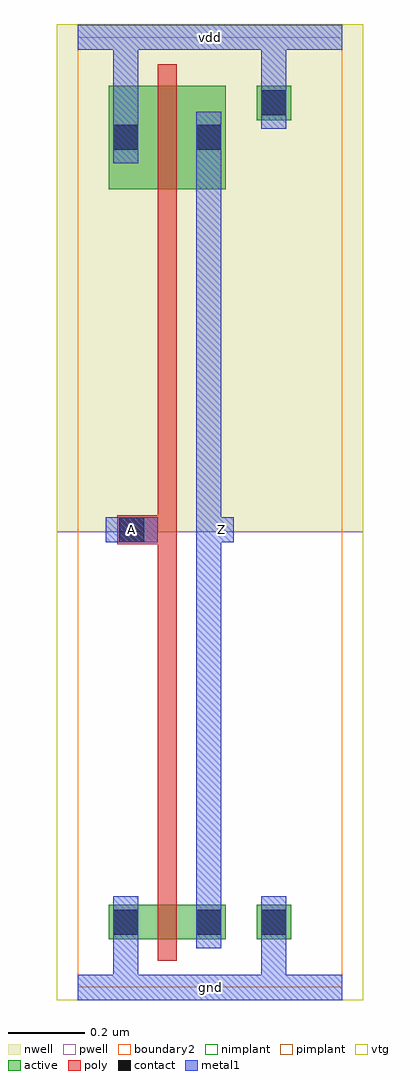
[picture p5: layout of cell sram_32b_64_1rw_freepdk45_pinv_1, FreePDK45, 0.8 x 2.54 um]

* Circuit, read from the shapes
.subckt sram_32b_64_1rw_freepdk45_pinv_1 A Z gnd vdd
M1 Z A gnd gnd nfet w=0.09u l=0.05u
M2 Z A vdd vdd pfet w=0.27u l=0.05u
.ends

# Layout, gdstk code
import gdstk
lib = gdstk.Library(unit=1e-6, precision=5e-10)
def R(c, l, rs):  # rectangles x0, y0, x1, y1
    for r in rs: c.add(gdstk.rectangle(r[:2], r[2:], *l))
active = (1, 0)
pwell = (2, 0)
nwell = (3, 0)
nimplant = (4, 0)
pimplant = (5, 0)
vtg = (6, 0)
poly = (9, 0)
contact = (10, 0)
metal1 = (11, 0)
boundary2 = (239, 0)

sram_32b_64_1rw_freepdk4 = lib.new_cell('sram_32b_64_1rw_freepdk45_contact_11')
R(sram_32b_64_1rw_freepdk4, active, [(0,0.0225,0.09,0.1125)])
R(sram_32b_64_1rw_freepdk4, nwell, [(-0.055,-0.0325,0.145,0.1675)])
R(sram_32b_64_1rw_freepdk4, pimplant, [(0,0.0225,0.09,0.1125)])
R(sram_32b_64_1rw_freepdk4, contact, [(0.0125,0.035,0.0775,0.1)])
R(sram_32b_64_1rw_freepdk4, metal1, [(0.0125,0,0.0775,0.135)])
R(sram_32b_64_1rw_freepdk4, boundary2, [(-0.055,-0.0325,0.145,0.1675)])

c_sram_32b_64_1rw_freepdk4 = lib.new_cell('sram_32b_64_1rw_freepdk45_pmos_m1_w0_270_sm1_dm1_da_p')
R(c_sram_32b_64_1rw_freepdk4, active, [(0,0,0.305,0.27)])
R(c_sram_32b_64_1rw_freepdk4, nwell, [(-0.08,-0.08,0.385,0.35)])
R(c_sram_32b_64_1rw_freepdk4, pimplant, [(0,0,0.305,0.27)])
R(c_sram_32b_64_1rw_freepdk4, vtg, [(-0.08,-0.08,0.385,0.35)])
R(c_sram_32b_64_1rw_freepdk4, poly, [(0.1275,-0.055,0.1775,0.325), (0.1275,-0.055,0.1775,0.325)])
R(c_sram_32b_64_1rw_freepdk4, metal1, [(0.0125,0.0675,0.0775,0.2025), (0.2275,0.0675,0.2925,0.2025)])
R(c_sram_32b_64_1rw_freepdk4, boundary2, [(-0.08,-0.08,0.385,0.35)])
c_sram_32b_64_1rw_freepdk4.add(gdstk.Reference(sram_32b_64_1rw_freepdk4, (0,0.0675)))
c_sram_32b_64_1rw_freepdk4.add(gdstk.Reference(sram_32b_64_1rw_freepdk4, (0.215,0.0675)))
c_sram_32b_64_1rw_freepdk4.add(gdstk.Label('G', (0.1525,0.135), layer=9, texttype=0))
c_sram_32b_64_1rw_freepdk4.add(gdstk.Label('S', (0.045,0.135), layer=11, texttype=0))
c_sram_32b_64_1rw_freepdk4.add(gdstk.Label('D', (0.26,0.135), layer=11, texttype=0))

c_sram_32b_64_1rw_freepdk4_ = lib.new_cell('sram_32b_64_1rw_freepdk45_contact_10')
R(c_sram_32b_64_1rw_freepdk4_, active, [(0,0.0225,0.09,0.1125)])
R(c_sram_32b_64_1rw_freepdk4_, pwell, [(-0.055,-0.0325,0.145,0.1675)])
R(c_sram_32b_64_1rw_freepdk4_, nimplant, [(0,0.0225,0.09,0.1125)])
R(c_sram_32b_64_1rw_freepdk4_, contact, [(0.0125,0.035,0.0775,0.1)])
R(c_sram_32b_64_1rw_freepdk4_, metal1, [(0.0125,0,0.0775,0.135)])
R(c_sram_32b_64_1rw_freepdk4_, boundary2, [(-0.055,-0.0325,0.145,0.1675)])

c_sram_32b_64_1rw_freepdk4__ = lib.new_cell('sram_32b_64_1rw_freepdk45_nmos_m1_w0_090_sm1_dm1_da_p')
R(c_sram_32b_64_1rw_freepdk4__, active, [(0,0,0.305,0.09)])
R(c_sram_32b_64_1rw_freepdk4__, pwell, [(-0.08,-0.08,0.385,0.17)])
R(c_sram_32b_64_1rw_freepdk4__, nimplant, [(0,0,0.305,0.09)])
R(c_sram_32b_64_1rw_freepdk4__, vtg, [(-0.08,-0.08,0.385,0.17)])
R(c_sram_32b_64_1rw_freepdk4__, poly, [(0.1275,-0.055,0.1775,0.145), (0.1275,-0.055,0.1775,0.145)])
R(c_sram_32b_64_1rw_freepdk4__, metal1, [(0.0125,-0.0225,0.0775,0.1125), (0.2275,-0.0225,0.2925,0.1125)])
R(c_sram_32b_64_1rw_freepdk4__, boundary2, [(-0.08,-0.08,0.385,0.17)])
c_sram_32b_64_1rw_freepdk4__.add(gdstk.Reference(c_sram_32b_64_1rw_freepdk4_, (0,-0.0225)))
c_sram_32b_64_1rw_freepdk4__.add(gdstk.Reference(c_sram_32b_64_1rw_freepdk4_, (0.215,-0.0225)))
c_sram_32b_64_1rw_freepdk4__.add(gdstk.Label('G', (0.1525,0.045), layer=9, texttype=0))
c_sram_32b_64_1rw_freepdk4__.add(gdstk.Label('S', (0.045,0.045), layer=11, texttype=0))
c_sram_32b_64_1rw_freepdk4__.add(gdstk.Label('D', (0.26,0.045), layer=11, texttype=0))

c_sram_32b_64_1rw_freepdk4___ = lib.new_cell('sram_32b_64_1rw_freepdk45_contact_12')
R(c_sram_32b_64_1rw_freepdk4___, active, [(0,0.0225,0.09,0.1125)])
R(c_sram_32b_64_1rw_freepdk4___, nwell, [(-0.055,-0.0325,0.145,0.1675)])
R(c_sram_32b_64_1rw_freepdk4___, nimplant, [(0,0.0225,0.09,0.1125)])
R(c_sram_32b_64_1rw_freepdk4___, contact, [(0.0125,0.035,0.0775,0.1)])
R(c_sram_32b_64_1rw_freepdk4___, metal1, [(0.0125,0,0.0775,0.135)])
R(c_sram_32b_64_1rw_freepdk4___, boundary2, [(-0.055,-0.0325,0.145,0.1675)])

c_sram_32b_64_1rw_freepdk4____ = lib.new_cell('sram_32b_64_1rw_freepdk45_contact_13')
R(c_sram_32b_64_1rw_freepdk4____, active, [(0,0.0225,0.09,0.1125)])
R(c_sram_32b_64_1rw_freepdk4____, pwell, [(-0.055,-0.0325,0.145,0.1675)])
R(c_sram_32b_64_1rw_freepdk4____, pimplant, [(0,0.0225,0.09,0.1125)])
R(c_sram_32b_64_1rw_freepdk4____, contact, [(0.0125,0.035,0.0775,0.1)])
R(c_sram_32b_64_1rw_freepdk4____, metal1, [(0.0125,0,0.0775,0.135)])
R(c_sram_32b_64_1rw_freepdk4____, boundary2, [(-0.055,-0.0325,0.145,0.1675)])

c_sram_32b_64_1rw_freepdk4_____ = lib.new_cell('sram_32b_64_1rw_freepdk45_contact_14')
R(c_sram_32b_64_1rw_freepdk4_____, poly, [(0.03,0,0.105,0.075)])
R(c_sram_32b_64_1rw_freepdk4_____, contact, [(0.035,0.005,0.1,0.07)])
R(c_sram_32b_64_1rw_freepdk4_____, metal1, [(0,0.005,0.135,0.07)])
R(c_sram_32b_64_1rw_freepdk4_____, boundary2, [(0,0,0.135,0.075)])

c_sram_32b_64_1rw_freepdk4______ = lib.new_cell('sram_32b_64_1rw_freepdk45_pinv_1')
R(c_sram_32b_64_1rw_freepdk4______, pwell, [(-0.055,-0.0325,0.7425,1.185)])
R(c_sram_32b_64_1rw_freepdk4______, nwell, [(-0.055,1.185,0.7425,2.505)])
R(c_sram_32b_64_1rw_freepdk4______, vtg, [(-0.055,-0.0325,0.7425,1.185), (-0.055,1.185,0.7425,2.505)])
R(c_sram_32b_64_1rw_freepdk4______, poly, [(0.2075,0.27,0.2575,2.02), (0.14,1.1525,0.2075,1.2275)])
R(c_sram_32b_64_1rw_freepdk4______, metal1, [(0,-0.0325,0.6875,0.0325), (0.0925,-0.0325,0.1575,0.1025), (0.4775,0,0.5425,0.17), (0.3075,0.1025,0.3725,2.2775), (0.0725,1.1575,0.2075,1.2225), (0.34,1.1575,0.405,1.2225), (0.0925,2.1425,0.1575,2.5025), (0.4775,2.3,0.5425,2.47), (0,2.4375,0.6875,2.5025)])
R(c_sram_32b_64_1rw_freepdk4______, boundary2, [(0,0,0.6875,2.47), (0,0,0.6875,2.47)])
c_sram_32b_64_1rw_freepdk4______.add(gdstk.Reference(c_sram_32b_64_1rw_freepdk4, (0.08,2.075)))
c_sram_32b_64_1rw_freepdk4______.add(gdstk.Reference(c_sram_32b_64_1rw_freepdk4__, (0.08,0.125)))
c_sram_32b_64_1rw_freepdk4______.add(gdstk.Reference(c_sram_32b_64_1rw_freepdk4___, (0.465,2.2325)))
c_sram_32b_64_1rw_freepdk4______.add(gdstk.Reference(c_sram_32b_64_1rw_freepdk4____, (0.465,0.1025)))
c_sram_32b_64_1rw_freepdk4______.add(gdstk.Reference(c_sram_32b_64_1rw_freepdk4_____, (0.0725,1.1525)))
c_sram_32b_64_1rw_freepdk4______.add(gdstk.Label('A', (0.14,1.19), layer=11, texttype=0))
c_sram_32b_64_1rw_freepdk4______.add(gdstk.Label('Z', (0.3725,1.19), layer=11, texttype=0))
c_sram_32b_64_1rw_freepdk4______.add(gdstk.Label('gnd', (0.344,0), layer=11, texttype=0))
c_sram_32b_64_1rw_freepdk4______.add(gdstk.Label('vdd', (0.344,2.47), layer=11, texttype=0))

lib.write_gds('sram_32b_64_1rw_freepdk45_pinv_1.gds')
